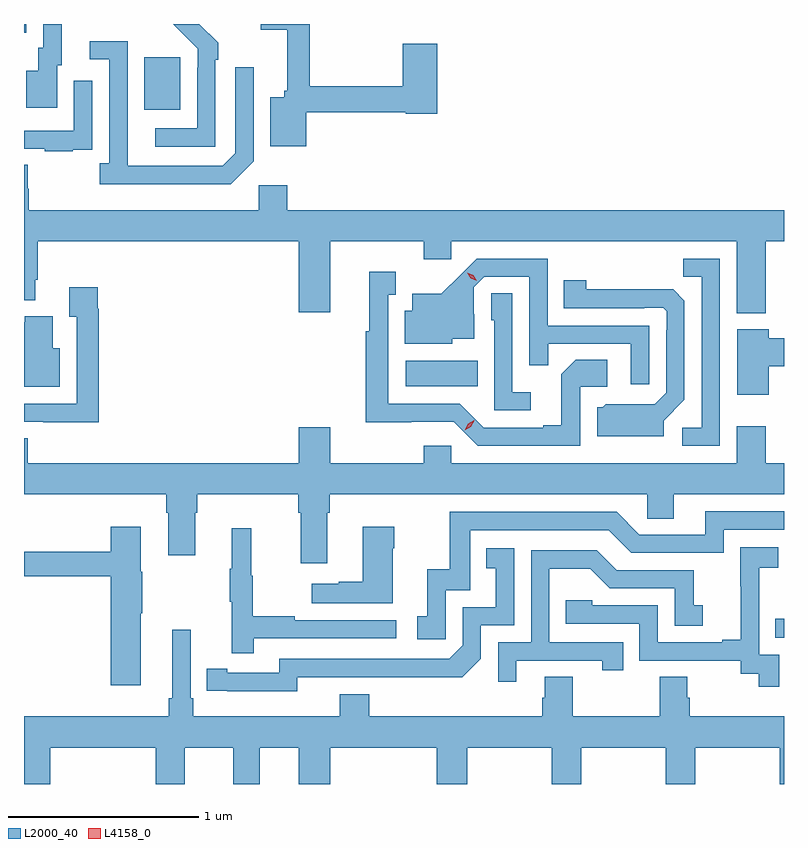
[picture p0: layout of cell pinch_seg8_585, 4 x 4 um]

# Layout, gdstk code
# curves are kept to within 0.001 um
import gdstk
lib = gdstk.Library(unit=1e-6, precision=1e-09)
def R(c, l, rs):  # rectangles x0, y0, x1, y1
    for r in rs: c.add(gdstk.rectangle(r[:2], r[2:], *l))
def P(c, l, *ps):  # polygons
    for p in ps: c.add(gdstk.Polygon(p, *l))
L2000_40 = (2000, 40)
L4158_0 = (4158, 0)

pinch_seg8_585 = lib.new_cell('pinch_seg8_585')
R(pinch_seg8_585, L2000_40, [(131.551,1098.429,131.597,1098.53), (129.606,1099.754,129.986,1099.888), (128.231,1101.209,128.419,1101.484), (127.597,1101.613,127.609,1101.66)])
P(pinch_seg8_585, L2000_40, [(129.082,1101.196),(129.606,1101.196),(129.606,1101.188),(129.773,1101.188),(129.773,1101.556),(129.59,1101.556),(129.59,1101.332),(129.101,1101.332),(129.101,1101.66),(128.844,1101.66),(128.844,1101.63),(128.983,1101.63),(128.983,1101.309),(128.966,1101.309),(128.966,1101.274),(128.894,1101.274),(128.894,1101.017),(129.082,1101.017)],
  [(128.604,1101.473),(128.619,1101.473),(128.619,1101.561),(128.52,1101.66),(128.383,1101.66),(128.511,1101.531),(128.511,1101.431),(128.508,1101.431),(128.508,1101.111),(128.289,1101.111),(128.289,1101.015),(128.604,1101.015)],
  [(127.771,1101.444),(127.795,1101.444),(127.795,1101.66),(127.698,1101.66),(127.698,1101.534),(127.673,1101.534),(127.673,1101.415),(127.61,1101.415),(127.61,1101.219),(127.771,1101.219)],
  [(128.805,1100.937),(128.805,1101.433),(128.709,1101.433),(128.709,1100.979),(128.643,1100.913),(128.143,1100.913),(128.142,1101.57),(127.944,1101.57),(127.944,1101.474),(128.046,1101.474),(128.046,1100.926),(127.995,1100.926),(127.995,1100.816),(128.684,1100.816)],
  [(127.853,1100.997),(127.955,1100.997),(127.955,1101.106),(127.956,1101.106),(127.956,1101.361),(127.86,1101.361),(127.86,1101.099),(127.597,1101.099),(127.597,1101.003),(127.705,1101.003),(127.705,1100.991),(127.853,1100.991)],
  [(131.501,1100.516),(131.597,1100.516),(131.597,1100.68),(128.983,1100.68),(128.983,1100.812),(128.832,1100.812),(128.832,1100.68),(127.622,1100.68),(127.622,1100.793),(127.617,1100.793),(127.617,1100.918),(127.597,1100.918),(127.597,1100.207),(127.657,1100.207),(127.657,1100.314),(127.67,1100.314),(127.67,1100.516),(129.044,1100.516),(129.044,1100.142),(129.208,1100.142),(129.208,1100.516),(129.7,1100.516),(129.7,1100.421),(129.846,1100.421),(129.846,1100.516),(131.348,1100.516),(131.348,1100.138),(131.501,1100.138)],
  [(131.259,1100.424),(131.068,1100.424),(131.068,1100.329),(131.163,1100.329),(131.163,1099.536),(131.061,1099.536),(131.061,1099.44),(131.259,1099.44)],
  [(130.887,1100.073),(130.353,1100.073),(130.353,1100.424),(129.98,1100.424),(129.793,1100.239),(129.641,1100.239),(129.641,1100.152),(129.602,1100.152),(129.602,1099.976),(129.852,1099.976),(129.852,1100.003),(129.967,1100.003),(129.967,1100.132),(129.963,1100.132),(129.963,1100.274),(130.02,1100.331),(130.257,1100.331),(130.257,1099.864),(130.355,1099.864),(130.355,1099.977),(130.791,1099.977),(130.791,1099.764),(130.887,1099.764)],
  [(130.524,1099.752),(130.666,1099.752),(130.666,1099.892),(130.501,1099.892),(130.425,1099.816),(130.425,1099.549),(130.331,1099.549),(130.331,1099.536),(130.017,1099.536),(129.891,1099.662),(129.514,1099.662),(129.514,1100.235),(129.553,1100.235),(129.553,1100.356),(129.413,1100.356),(129.413,1100.043),(129.396,1100.043),(129.396,1099.565),(129.858,1099.566),(129.984,1099.44),(130.524,1099.44)],
  [(130.963,1099.572),(131.073,1099.682),(131.073,1100.204),(131.014,1100.263),(130.557,1100.264),(130.557,1100.311),(130.438,1100.311),(130.438,1100.163),(130.862,1100.163),(130.862,1100.166),(130.962,1100.166),(130.98,1100.148),(130.98,1100.048),(130.977,1100.048),(130.977,1099.719),(130.917,1099.659),(130.66,1099.66),(130.644,1099.644),(130.613,1099.644),(130.613,1099.49),(130.963,1099.49)],
  [(127.991,1100.162),(127.984,1100.162),(127.984,1100.275),(127.835,1100.275),(127.835,1100.119),(127.875,1100.119),(127.875,1099.662),(127.597,1099.662),(127.597,1099.566),(127.699,1099.566),(127.699,1099.565),(127.991,1099.565)],
  [(130.264,1099.723),(130.167,1099.723),(130.167,1100.243),(130.056,1100.243),(130.056,1100.1),(130.071,1100.1),(130.071,1099.626),(130.264,1099.626)],
  [(127.786,1099.954),(127.747,1099.954),(127.747,1100.122),(127.601,1100.122),(127.601,1100.091),(127.597,1100.091),(127.597,1099.751),(127.786,1099.751)],
  [(131.518,1099.859),(131.597,1099.859),(131.597,1100.006),(131.518,1100.006),(131.518,1100.053),(131.351,1100.053),(131.351,1099.71),(131.518,1099.71)],
  [(129.193,1099.088),(129.206,1099.088),(129.206,1099.184),(130.878,1099.184),(130.878,1099.057),(131.017,1099.057),(131.017,1099.184),(131.597,1099.184),(131.597,1099.348),(131.501,1099.348),(131.501,1099.543),(131.348,1099.543),(131.348,1099.348),(129.846,1099.348),(129.846,1099.441),(129.7,1099.441),(129.7,1099.348),(129.208,1099.348),(129.208,1099.537),(129.044,1099.537),(129.044,1099.348),(127.616,1099.348),(127.616,1099.481),(127.597,1099.481),(127.597,1099.184),(128.345,1099.184),(128.345,1099.088),(128.357,1099.088),(128.357,1098.864),(128.497,1098.864),(128.497,1099.088),(128.51,1099.088),(128.51,1099.184),(129.041,1099.184),(129.041,1099.088),(129.053,1099.088),(129.053,1098.822),(129.193,1098.822)],
  [(129.816,1098.681),(129.945,1098.681),(129.945,1098.996),(130.674,1098.996),(130.794,1098.876),(131.28,1098.876),(131.28,1098.999),(131.597,1098.999),(131.597,1099.095),(131.183,1099.095),(131.183,1098.972),(130.836,1098.972),(130.716,1099.092),(129.837,1099.092),(129.837,1098.79),(129.719,1098.79),(129.719,1098.543),(129.666,1098.543),(129.666,1098.423),(129.816,1098.423)],
  [(128.212,1098.559),(128.22,1098.559),(128.22,1098.777),(128.212,1098.777),(128.212,1099.015),(128.054,1099.015),(128.054,1098.883),(127.597,1098.883),(127.597,1098.754),(128.054,1098.754),(128.054,1098.18),(128.212,1098.18)],
  [(129.538,1098.902),(129.546,1098.902),(129.546,1099.015),(129.38,1099.015),(129.38,1098.725),(129.254,1098.725),(129.254,1098.715),(129.111,1098.715),(129.111,1098.611),(129.538,1098.611)],
  [(128.807,1098.426),(129.556,1098.426),(129.556,1098.522),(129.023,1098.522),(129.023,1098.542),(128.8,1098.542),(128.8,1098.756),(128.792,1098.756),(128.792,1099.006),(128.69,1099.006),(128.69,1098.793),(128.679,1098.793),(128.679,1098.619),(128.69,1098.619),(128.69,1098.348),(128.807,1098.348)],
  [(131.571,1098.339),(131.466,1098.339),(131.466,1098.569),(131.468,1098.569),(131.468,1098.797),(131.566,1098.797),(131.566,1098.907),(131.368,1098.907),(131.368,1098.701),(131.369,1098.701),(131.369,1098.418),(131.273,1098.418),(131.273,1098.405),(130.932,1098.405),(130.932,1098.6),(130.587,1098.6),(130.587,1098.627),(130.447,1098.627),(130.447,1098.504),(130.836,1098.504),(130.836,1098.309),(131.37,1098.309),(131.37,1098.241),(131.463,1098.241),(131.463,1098.171),(131.571,1098.171)],
  [(129.036,1098.222),(129.904,1098.221),(130.002,1098.318),(130.002,1098.495),(130.176,1098.495),(130.176,1098.901),(130.03,1098.901),(130.03,1098.795),(130.079,1098.795),(130.079,1098.591),(129.906,1098.591),(129.906,1098.39),(129.834,1098.318),(128.94,1098.318),(128.94,1098.246),(128.668,1098.246),(128.668,1098.266),(128.56,1098.266),(128.56,1098.15),(129.036,1098.149)],
  [(130.189,1098.309),(130.64,1098.309),(130.64,1098.258),(130.751,1098.258),(130.751,1098.405),(130.362,1098.405),(130.362,1098.794),(130.576,1098.794),(130.68,1098.69),(131.022,1098.69),(131.022,1098.492),(131.17,1098.492),(131.17,1098.601),(131.121,1098.601),(131.121,1098.786),(130.717,1098.786),(130.612,1098.891),(130.266,1098.891),(130.266,1098.405),(130.092,1098.405),(130.092,1098.198),(130.189,1098.198)],
  [(127.736,1097.852),(128.291,1097.852),(128.291,1097.66),(128.443,1097.66),(128.443,1097.852),(128.699,1097.852),(128.699,1097.66),(128.839,1097.66),(128.839,1097.852),(129.044,1097.852),(129.044,1097.66),(129.208,1097.66),(129.208,1097.852),(129.77,1097.852),(129.77,1097.66),(129.93,1097.66),(129.93,1097.852),(130.375,1097.852),(130.375,1097.66),(130.53,1097.66),(130.53,1097.852),(130.975,1097.852),(130.975,1097.66),(131.13,1097.66),(131.13,1097.852),(131.575,1097.852),(131.575,1097.66),(131.597,1097.66),(131.597,1098.016),(131.102,1098.016),(131.102,1098.114),(131.089,1098.114),(131.089,1098.224),(130.942,1098.224),(130.942,1098.016),(130.485,1098.016),(130.485,1098.224),(130.337,1098.224),(130.337,1098.114),(130.325,1098.114),(130.325,1098.016),(129.413,1098.016),(129.413,1098.133),(129.26,1098.133),(129.26,1098.016),(128.489,1098.016),(128.489,1098.112),(128.475,1098.112),(128.475,1098.472),(128.378,1098.472),(128.378,1098.112),(128.359,1098.112),(128.359,1098.016),(127.597,1098.016),(127.597,1097.66),(127.736,1097.66)])
P(pinch_seg8_585, L4158_0, [(129.917,1099.522),(129.917,1099.522),(129.934,1099.555),(129.966,1099.574),(129.966,1099.574),(129.966,1099.573),(129.949,1099.541),(129.917,1099.522)],
  [(129.979,1100.308),(129.949,1100.322),(129.931,1100.351),(129.931,1100.351),(129.931,1100.351),(129.962,1100.337),(129.98,1100.308),(129.98,1100.308)])

lib.write_gds('pinch_seg8_585.gds')
